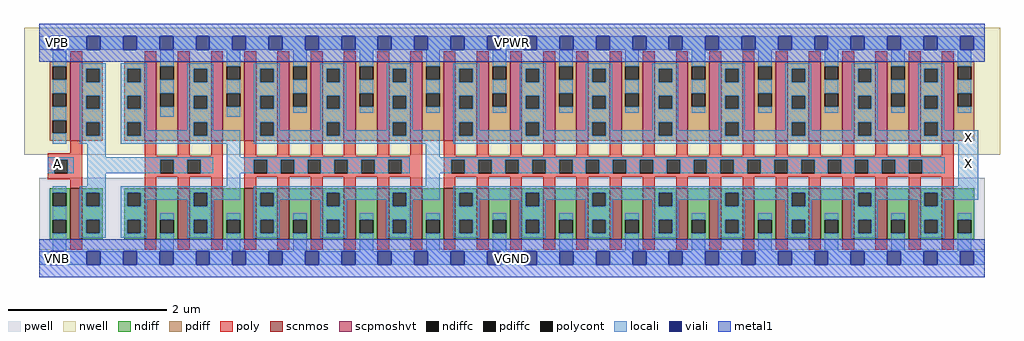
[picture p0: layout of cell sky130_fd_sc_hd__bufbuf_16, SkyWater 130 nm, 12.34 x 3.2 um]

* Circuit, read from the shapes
.subckt sky130_fd_sc_hd__bufbuf_16 A VGND VNB VPB VPWR X
XM1 n1 A VGND VNB sky130_fd_pr__nfet_01v8 w=0.65 l=0.15
XM2 VGND n1 n2 VNB sky130_fd_pr__nfet_01v8 w=0.65 l=0.15 m=3
XM3 n3 n2 VGND VNB sky130_fd_pr__nfet_01v8 w=0.65 l=0.15 m=6
XM4 X n3 VGND VNB sky130_fd_pr__nfet_01v8 w=0.65 l=0.15 m=16
XM5 n1 A VPWR VPB sky130_fd_pr__pfet_01v8_hvt w=1 l=0.15
XM6 VPWR n1 n2 VPB sky130_fd_pr__pfet_01v8_hvt w=1 l=0.15 m=3
XM7 n3 n2 VPWR VPB sky130_fd_pr__pfet_01v8_hvt w=1 l=0.15 m=6
XM8 X n3 VPWR VPB sky130_fd_pr__pfet_01v8_hvt w=1 l=0.15 m=16
.ends

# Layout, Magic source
magic
tech sky130B
magscale 1 2
<< nwell >>
rect -38 261 2430 582
<< pwell >>
rect 1 21 2391 203
rect 30 -17 64 21
<< scnmos >>
rect 79 47 109 177
rect 267 47 297 177
rect 351 47 381 177
rect 435 47 465 177
rect 519 47 549 177
rect 603 47 633 177
rect 687 47 717 177
rect 771 47 801 177
rect 855 47 885 177
rect 939 47 969 177
rect 1023 47 1053 177
rect 1107 47 1137 177
rect 1191 47 1221 177
rect 1275 47 1305 177
rect 1359 47 1389 177
rect 1443 47 1473 177
rect 1527 47 1557 177
rect 1611 47 1641 177
rect 1695 47 1725 177
rect 1779 47 1809 177
rect 1863 47 1893 177
rect 1947 47 1977 177
rect 2031 47 2061 177
rect 2115 47 2145 177
rect 2199 47 2229 177
rect 2283 47 2313 177
<< scpmoshvt >>
rect 79 297 109 497
rect 267 297 297 497
rect 351 297 381 497
rect 435 297 465 497
rect 519 297 549 497
rect 603 297 633 497
rect 687 297 717 497
rect 771 297 801 497
rect 855 297 885 497
rect 939 297 969 497
rect 1023 297 1053 497
rect 1107 297 1137 497
rect 1191 297 1221 497
rect 1275 297 1305 497
rect 1359 297 1389 497
rect 1443 297 1473 497
rect 1527 297 1557 497
rect 1611 297 1641 497
rect 1695 297 1725 497
rect 1779 297 1809 497
rect 1863 297 1893 497
rect 1947 297 1977 497
rect 2031 297 2061 497
rect 2115 297 2145 497
rect 2199 297 2229 497
rect 2283 297 2313 497
<< ndiff >>
rect 27 165 79 177
rect 27 131 35 165
rect 69 131 79 165
rect 27 97 79 131
rect 27 63 35 97
rect 69 63 79 97
rect 27 47 79 63
rect 109 165 161 177
rect 109 131 119 165
rect 153 131 161 165
rect 109 97 161 131
rect 109 63 119 97
rect 153 63 161 97
rect 109 47 161 63
rect 215 165 267 177
rect 215 131 223 165
rect 257 131 267 165
rect 215 97 267 131
rect 215 63 223 97
rect 257 63 267 97
rect 215 47 267 63
rect 297 97 351 177
rect 297 63 307 97
rect 341 63 351 97
rect 297 47 351 63
rect 381 165 435 177
rect 381 131 391 165
rect 425 131 435 165
rect 381 97 435 131
rect 381 63 391 97
rect 425 63 435 97
rect 381 47 435 63
rect 465 97 519 177
rect 465 63 475 97
rect 509 63 519 97
rect 465 47 519 63
rect 549 165 603 177
rect 549 131 559 165
rect 593 131 603 165
rect 549 97 603 131
rect 549 63 559 97
rect 593 63 603 97
rect 549 47 603 63
rect 633 97 687 177
rect 633 63 643 97
rect 677 63 687 97
rect 633 47 687 63
rect 717 165 771 177
rect 717 131 727 165
rect 761 131 771 165
rect 717 97 771 131
rect 717 63 727 97
rect 761 63 771 97
rect 717 47 771 63
rect 801 97 855 177
rect 801 63 811 97
rect 845 63 855 97
rect 801 47 855 63
rect 885 165 939 177
rect 885 131 895 165
rect 929 131 939 165
rect 885 97 939 131
rect 885 63 895 97
rect 929 63 939 97
rect 885 47 939 63
rect 969 97 1023 177
rect 969 63 979 97
rect 1013 63 1023 97
rect 969 47 1023 63
rect 1053 165 1107 177
rect 1053 131 1063 165
rect 1097 131 1107 165
rect 1053 97 1107 131
rect 1053 63 1063 97
rect 1097 63 1107 97
rect 1053 47 1107 63
rect 1137 97 1191 177
rect 1137 63 1147 97
rect 1181 63 1191 97
rect 1137 47 1191 63
rect 1221 165 1275 177
rect 1221 131 1231 165
rect 1265 131 1275 165
rect 1221 97 1275 131
rect 1221 63 1231 97
rect 1265 63 1275 97
rect 1221 47 1275 63
rect 1305 97 1359 177
rect 1305 63 1315 97
rect 1349 63 1359 97
rect 1305 47 1359 63
rect 1389 165 1443 177
rect 1389 131 1399 165
rect 1433 131 1443 165
rect 1389 97 1443 131
rect 1389 63 1399 97
rect 1433 63 1443 97
rect 1389 47 1443 63
rect 1473 97 1527 177
rect 1473 63 1483 97
rect 1517 63 1527 97
rect 1473 47 1527 63
rect 1557 165 1611 177
rect 1557 131 1567 165
rect 1601 131 1611 165
rect 1557 97 1611 131
rect 1557 63 1567 97
rect 1601 63 1611 97
rect 1557 47 1611 63
rect 1641 97 1695 177
rect 1641 63 1651 97
rect 1685 63 1695 97
rect 1641 47 1695 63
rect 1725 165 1779 177
rect 1725 131 1735 165
rect 1769 131 1779 165
rect 1725 97 1779 131
rect 1725 63 1735 97
rect 1769 63 1779 97
rect 1725 47 1779 63
rect 1809 97 1863 177
rect 1809 63 1819 97
rect 1853 63 1863 97
rect 1809 47 1863 63
rect 1893 165 1947 177
rect 1893 131 1903 165
rect 1937 131 1947 165
rect 1893 97 1947 131
rect 1893 63 1903 97
rect 1937 63 1947 97
rect 1893 47 1947 63
rect 1977 97 2031 177
rect 1977 63 1987 97
rect 2021 63 2031 97
rect 1977 47 2031 63
rect 2061 165 2115 177
rect 2061 131 2071 165
rect 2105 131 2115 165
rect 2061 97 2115 131
rect 2061 63 2071 97
rect 2105 63 2115 97
rect 2061 47 2115 63
rect 2145 97 2199 177
rect 2145 63 2155 97
rect 2189 63 2199 97
rect 2145 47 2199 63
rect 2229 165 2283 177
rect 2229 131 2239 165
rect 2273 131 2283 165
rect 2229 97 2283 131
rect 2229 63 2239 97
rect 2273 63 2283 97
rect 2229 47 2283 63
rect 2313 97 2365 177
rect 2313 63 2323 97
rect 2357 63 2365 97
rect 2313 47 2365 63
<< pdiff >>
rect 27 485 79 497
rect 27 451 35 485
rect 69 451 79 485
rect 27 417 79 451
rect 27 383 35 417
rect 69 383 79 417
rect 27 349 79 383
rect 27 315 35 349
rect 69 315 79 349
rect 27 297 79 315
rect 109 479 161 497
rect 109 445 119 479
rect 153 445 161 479
rect 109 411 161 445
rect 109 377 119 411
rect 153 377 161 411
rect 109 343 161 377
rect 109 309 119 343
rect 153 309 161 343
rect 109 297 161 309
rect 215 479 267 497
rect 215 445 223 479
rect 257 445 267 479
rect 215 411 267 445
rect 215 377 223 411
rect 257 377 267 411
rect 215 343 267 377
rect 215 309 223 343
rect 257 309 267 343
rect 215 297 267 309
rect 297 485 351 497
rect 297 451 307 485
rect 341 451 351 485
rect 297 417 351 451
rect 297 383 307 417
rect 341 383 351 417
rect 297 297 351 383
rect 381 479 435 497
rect 381 445 391 479
rect 425 445 435 479
rect 381 411 435 445
rect 381 377 391 411
rect 425 377 435 411
rect 381 343 435 377
rect 381 309 391 343
rect 425 309 435 343
rect 381 297 435 309
rect 465 485 519 497
rect 465 451 475 485
rect 509 451 519 485
rect 465 417 519 451
rect 465 383 475 417
rect 509 383 519 417
rect 465 297 519 383
rect 549 479 603 497
rect 549 445 559 479
rect 593 445 603 479
rect 549 411 603 445
rect 549 377 559 411
rect 593 377 603 411
rect 549 343 603 377
rect 549 309 559 343
rect 593 309 603 343
rect 549 297 603 309
rect 633 485 687 497
rect 633 451 643 485
rect 677 451 687 485
rect 633 417 687 451
rect 633 383 643 417
rect 677 383 687 417
rect 633 297 687 383
rect 717 479 771 497
rect 717 445 727 479
rect 761 445 771 479
rect 717 411 771 445
rect 717 377 727 411
rect 761 377 771 411
rect 717 343 771 377
rect 717 309 727 343
rect 761 309 771 343
rect 717 297 771 309
rect 801 485 855 497
rect 801 451 811 485
rect 845 451 855 485
rect 801 417 855 451
rect 801 383 811 417
rect 845 383 855 417
rect 801 297 855 383
rect 885 479 939 497
rect 885 445 895 479
rect 929 445 939 479
rect 885 411 939 445
rect 885 377 895 411
rect 929 377 939 411
rect 885 343 939 377
rect 885 309 895 343
rect 929 309 939 343
rect 885 297 939 309
rect 969 485 1023 497
rect 969 451 979 485
rect 1013 451 1023 485
rect 969 417 1023 451
rect 969 383 979 417
rect 1013 383 1023 417
rect 969 297 1023 383
rect 1053 479 1107 497
rect 1053 445 1063 479
rect 1097 445 1107 479
rect 1053 411 1107 445
rect 1053 377 1063 411
rect 1097 377 1107 411
rect 1053 343 1107 377
rect 1053 309 1063 343
rect 1097 309 1107 343
rect 1053 297 1107 309
rect 1137 485 1191 497
rect 1137 451 1147 485
rect 1181 451 1191 485
rect 1137 417 1191 451
rect 1137 383 1147 417
rect 1181 383 1191 417
rect 1137 297 1191 383
rect 1221 479 1275 497
rect 1221 445 1231 479
rect 1265 445 1275 479
rect 1221 411 1275 445
rect 1221 377 1231 411
rect 1265 377 1275 411
rect 1221 343 1275 377
rect 1221 309 1231 343
rect 1265 309 1275 343
rect 1221 297 1275 309
rect 1305 485 1359 497
rect 1305 451 1315 485
rect 1349 451 1359 485
rect 1305 417 1359 451
rect 1305 383 1315 417
rect 1349 383 1359 417
rect 1305 297 1359 383
rect 1389 479 1443 497
rect 1389 445 1399 479
rect 1433 445 1443 479
rect 1389 411 1443 445
rect 1389 377 1399 411
rect 1433 377 1443 411
rect 1389 343 1443 377
rect 1389 309 1399 343
rect 1433 309 1443 343
rect 1389 297 1443 309
rect 1473 485 1527 497
rect 1473 451 1483 485
rect 1517 451 1527 485
rect 1473 417 1527 451
rect 1473 383 1483 417
rect 1517 383 1527 417
rect 1473 297 1527 383
rect 1557 479 1611 497
rect 1557 445 1567 479
rect 1601 445 1611 479
rect 1557 411 1611 445
rect 1557 377 1567 411
rect 1601 377 1611 411
rect 1557 343 1611 377
rect 1557 309 1567 343
rect 1601 309 1611 343
rect 1557 297 1611 309
rect 1641 485 1695 497
rect 1641 451 1651 485
rect 1685 451 1695 485
rect 1641 417 1695 451
rect 1641 383 1651 417
rect 1685 383 1695 417
rect 1641 297 1695 383
rect 1725 479 1779 497
rect 1725 445 1735 479
rect 1769 445 1779 479
rect 1725 411 1779 445
rect 1725 377 1735 411
rect 1769 377 1779 411
rect 1725 343 1779 377
rect 1725 309 1735 343
rect 1769 309 1779 343
rect 1725 297 1779 309
rect 1809 485 1863 497
rect 1809 451 1819 485
rect 1853 451 1863 485
rect 1809 417 1863 451
rect 1809 383 1819 417
rect 1853 383 1863 417
rect 1809 297 1863 383
rect 1893 479 1947 497
rect 1893 445 1903 479
rect 1937 445 1947 479
rect 1893 411 1947 445
rect 1893 377 1903 411
rect 1937 377 1947 411
rect 1893 343 1947 377
rect 1893 309 1903 343
rect 1937 309 1947 343
rect 1893 297 1947 309
rect 1977 485 2031 497
rect 1977 451 1987 485
rect 2021 451 2031 485
rect 1977 417 2031 451
rect 1977 383 1987 417
rect 2021 383 2031 417
rect 1977 297 2031 383
rect 2061 479 2115 497
rect 2061 445 2071 479
rect 2105 445 2115 479
rect 2061 411 2115 445
rect 2061 377 2071 411
rect 2105 377 2115 411
rect 2061 343 2115 377
rect 2061 309 2071 343
rect 2105 309 2115 343
rect 2061 297 2115 309
rect 2145 485 2199 497
rect 2145 451 2155 485
rect 2189 451 2199 485
rect 2145 417 2199 451
rect 2145 383 2155 417
rect 2189 383 2199 417
rect 2145 297 2199 383
rect 2229 479 2283 497
rect 2229 445 2239 479
rect 2273 445 2283 479
rect 2229 411 2283 445
rect 2229 377 2239 411
rect 2273 377 2283 411
rect 2229 343 2283 377
rect 2229 309 2239 343
rect 2273 309 2283 343
rect 2229 297 2283 309
rect 2313 485 2365 497
rect 2313 451 2323 485
rect 2357 451 2365 485
rect 2313 417 2365 451
rect 2313 383 2323 417
rect 2357 383 2365 417
rect 2313 297 2365 383
<< ndiffc >>
rect 35 131 69 165
rect 35 63 69 97
rect 119 131 153 165
rect 119 63 153 97
rect 223 131 257 165
rect 223 63 257 97
rect 307 63 341 97
rect 391 131 425 165
rect 391 63 425 97
rect 475 63 509 97
rect 559 131 593 165
rect 559 63 593 97
rect 643 63 677 97
rect 727 131 761 165
rect 727 63 761 97
rect 811 63 845 97
rect 895 131 929 165
rect 895 63 929 97
rect 979 63 1013 97
rect 1063 131 1097 165
rect 1063 63 1097 97
rect 1147 63 1181 97
rect 1231 131 1265 165
rect 1231 63 1265 97
rect 1315 63 1349 97
rect 1399 131 1433 165
rect 1399 63 1433 97
rect 1483 63 1517 97
rect 1567 131 1601 165
rect 1567 63 1601 97
rect 1651 63 1685 97
rect 1735 131 1769 165
rect 1735 63 1769 97
rect 1819 63 1853 97
rect 1903 131 1937 165
rect 1903 63 1937 97
rect 1987 63 2021 97
rect 2071 131 2105 165
rect 2071 63 2105 97
rect 2155 63 2189 97
rect 2239 131 2273 165
rect 2239 63 2273 97
rect 2323 63 2357 97
<< pdiffc >>
rect 35 451 69 485
rect 35 383 69 417
rect 35 315 69 349
rect 119 445 153 479
rect 119 377 153 411
rect 119 309 153 343
rect 223 445 257 479
rect 223 377 257 411
rect 223 309 257 343
rect 307 451 341 485
rect 307 383 341 417
rect 391 445 425 479
rect 391 377 425 411
rect 391 309 425 343
rect 475 451 509 485
rect 475 383 509 417
rect 559 445 593 479
rect 559 377 593 411
rect 559 309 593 343
rect 643 451 677 485
rect 643 383 677 417
rect 727 445 761 479
rect 727 377 761 411
rect 727 309 761 343
rect 811 451 845 485
rect 811 383 845 417
rect 895 445 929 479
rect 895 377 929 411
rect 895 309 929 343
rect 979 451 1013 485
rect 979 383 1013 417
rect 1063 445 1097 479
rect 1063 377 1097 411
rect 1063 309 1097 343
rect 1147 451 1181 485
rect 1147 383 1181 417
rect 1231 445 1265 479
rect 1231 377 1265 411
rect 1231 309 1265 343
rect 1315 451 1349 485
rect 1315 383 1349 417
rect 1399 445 1433 479
rect 1399 377 1433 411
rect 1399 309 1433 343
rect 1483 451 1517 485
rect 1483 383 1517 417
rect 1567 445 1601 479
rect 1567 377 1601 411
rect 1567 309 1601 343
rect 1651 451 1685 485
rect 1651 383 1685 417
rect 1735 445 1769 479
rect 1735 377 1769 411
rect 1735 309 1769 343
rect 1819 451 1853 485
rect 1819 383 1853 417
rect 1903 445 1937 479
rect 1903 377 1937 411
rect 1903 309 1937 343
rect 1987 451 2021 485
rect 1987 383 2021 417
rect 2071 445 2105 479
rect 2071 377 2105 411
rect 2071 309 2105 343
rect 2155 451 2189 485
rect 2155 383 2189 417
rect 2239 445 2273 479
rect 2239 377 2273 411
rect 2239 309 2273 343
rect 2323 451 2357 485
rect 2323 383 2357 417
<< poly >>
rect 79 497 109 523
rect 267 497 297 523
rect 351 497 381 523
rect 435 497 465 523
rect 519 497 549 523
rect 603 497 633 523
rect 687 497 717 523
rect 771 497 801 523
rect 855 497 885 523
rect 939 497 969 523
rect 1023 497 1053 523
rect 1107 497 1137 523
rect 1191 497 1221 523
rect 1275 497 1305 523
rect 1359 497 1389 523
rect 1443 497 1473 523
rect 1527 497 1557 523
rect 1611 497 1641 523
rect 1695 497 1725 523
rect 1779 497 1809 523
rect 1863 497 1893 523
rect 1947 497 1977 523
rect 2031 497 2061 523
rect 2115 497 2145 523
rect 2199 497 2229 523
rect 2283 497 2313 523
rect 79 265 109 297
rect 22 249 109 265
rect 22 215 38 249
rect 72 215 109 249
rect 22 199 109 215
rect 79 177 109 199
rect 267 259 297 297
rect 351 259 381 297
rect 435 259 465 297
rect 267 249 465 259
rect 267 215 307 249
rect 341 215 375 249
rect 409 215 465 249
rect 267 205 465 215
rect 267 177 297 205
rect 351 177 381 205
rect 435 177 465 205
rect 519 259 549 297
rect 603 259 633 297
rect 687 259 717 297
rect 771 259 801 297
rect 855 259 885 297
rect 939 259 969 297
rect 519 249 969 259
rect 519 215 543 249
rect 577 215 611 249
rect 645 215 679 249
rect 713 215 747 249
rect 781 215 815 249
rect 849 215 883 249
rect 917 215 969 249
rect 519 205 969 215
rect 519 177 549 205
rect 603 177 633 205
rect 687 177 717 205
rect 771 177 801 205
rect 855 177 885 205
rect 939 177 969 205
rect 1023 259 1053 297
rect 1107 259 1137 297
rect 1191 259 1221 297
rect 1275 259 1305 297
rect 1359 259 1389 297
rect 1443 259 1473 297
rect 1527 259 1557 297
rect 1611 259 1641 297
rect 1695 259 1725 297
rect 1779 259 1809 297
rect 1863 259 1893 297
rect 1947 259 1977 297
rect 2031 259 2061 297
rect 2115 259 2145 297
rect 2199 259 2229 297
rect 2283 259 2313 297
rect 1023 249 2313 259
rect 1023 215 1043 249
rect 1077 215 1111 249
rect 1145 215 1179 249
rect 1213 215 1247 249
rect 1281 215 1315 249
rect 1349 215 1383 249
rect 1417 215 1451 249
rect 1485 215 1519 249
rect 1553 215 1587 249
rect 1621 215 1655 249
rect 1689 215 1723 249
rect 1757 215 1791 249
rect 1825 215 1859 249
rect 1893 215 1927 249
rect 1961 215 1995 249
rect 2029 215 2063 249
rect 2097 215 2131 249
rect 2165 215 2199 249
rect 2233 215 2313 249
rect 1023 205 2313 215
rect 1023 177 1053 205
rect 1107 177 1137 205
rect 1191 177 1221 205
rect 1275 177 1305 205
rect 1359 177 1389 205
rect 1443 177 1473 205
rect 1527 177 1557 205
rect 1611 177 1641 205
rect 1695 177 1725 205
rect 1779 177 1809 205
rect 1863 177 1893 205
rect 1947 177 1977 205
rect 2031 177 2061 205
rect 2115 177 2145 205
rect 2199 177 2229 205
rect 2283 177 2313 205
rect 79 21 109 47
rect 267 21 297 47
rect 351 21 381 47
rect 435 21 465 47
rect 519 21 549 47
rect 603 21 633 47
rect 687 21 717 47
rect 771 21 801 47
rect 855 21 885 47
rect 939 21 969 47
rect 1023 21 1053 47
rect 1107 21 1137 47
rect 1191 21 1221 47
rect 1275 21 1305 47
rect 1359 21 1389 47
rect 1443 21 1473 47
rect 1527 21 1557 47
rect 1611 21 1641 47
rect 1695 21 1725 47
rect 1779 21 1809 47
rect 1863 21 1893 47
rect 1947 21 1977 47
rect 2031 21 2061 47
rect 2115 21 2145 47
rect 2199 21 2229 47
rect 2283 21 2313 47
<< polycont >>
rect 38 215 72 249
rect 307 215 341 249
rect 375 215 409 249
rect 543 215 577 249
rect 611 215 645 249
rect 679 215 713 249
rect 747 215 781 249
rect 815 215 849 249
rect 883 215 917 249
rect 1043 215 1077 249
rect 1111 215 1145 249
rect 1179 215 1213 249
rect 1247 215 1281 249
rect 1315 215 1349 249
rect 1383 215 1417 249
rect 1451 215 1485 249
rect 1519 215 1553 249
rect 1587 215 1621 249
rect 1655 215 1689 249
rect 1723 215 1757 249
rect 1791 215 1825 249
rect 1859 215 1893 249
rect 1927 215 1961 249
rect 1995 215 2029 249
rect 2063 215 2097 249
rect 2131 215 2165 249
rect 2199 215 2233 249
<< locali >>
rect 0 527 29 561
rect 63 527 121 561
rect 155 527 213 561
rect 247 527 305 561
rect 339 527 397 561
rect 431 527 489 561
rect 523 527 581 561
rect 615 527 673 561
rect 707 527 765 561
rect 799 527 857 561
rect 891 527 949 561
rect 983 527 1041 561
rect 1075 527 1133 561
rect 1167 527 1225 561
rect 1259 527 1317 561
rect 1351 527 1409 561
rect 1443 527 1501 561
rect 1535 527 1593 561
rect 1627 527 1685 561
rect 1719 527 1777 561
rect 1811 527 1869 561
rect 1903 527 1961 561
rect 1995 527 2053 561
rect 2087 527 2145 561
rect 2179 527 2237 561
rect 2271 527 2329 561
rect 2363 527 2392 561
rect 35 485 69 527
rect 35 417 69 451
rect 35 349 69 383
rect 35 289 69 315
rect 103 479 169 493
rect 103 445 119 479
rect 153 445 169 479
rect 103 411 169 445
rect 103 377 119 411
rect 153 377 169 411
rect 103 343 169 377
rect 103 309 119 343
rect 153 309 169 343
rect 103 289 169 309
rect 207 479 273 493
rect 207 445 223 479
rect 257 445 273 479
rect 207 411 273 445
rect 207 377 223 411
rect 257 377 273 411
rect 207 343 273 377
rect 307 485 341 527
rect 307 417 341 451
rect 307 357 341 383
rect 375 479 441 493
rect 375 445 391 479
rect 425 445 441 479
rect 375 411 441 445
rect 375 377 391 411
rect 425 377 441 411
rect 207 309 223 343
rect 257 323 273 343
rect 375 343 441 377
rect 475 485 509 527
rect 475 417 509 451
rect 475 357 509 383
rect 543 479 609 493
rect 543 445 559 479
rect 593 445 609 479
rect 543 411 609 445
rect 543 377 559 411
rect 593 377 609 411
rect 375 323 391 343
rect 257 309 391 323
rect 425 323 441 343
rect 543 343 609 377
rect 643 485 677 527
rect 643 417 677 451
rect 643 367 677 383
rect 711 479 777 493
rect 711 445 727 479
rect 761 445 777 479
rect 711 411 777 445
rect 711 377 727 411
rect 761 377 777 411
rect 425 309 509 323
rect 207 289 509 309
rect 543 309 559 343
rect 593 323 609 343
rect 711 343 777 377
rect 811 485 845 527
rect 811 417 845 451
rect 811 367 845 383
rect 879 479 945 493
rect 879 445 895 479
rect 929 445 945 479
rect 879 411 945 445
rect 879 377 895 411
rect 929 377 945 411
rect 711 323 727 343
rect 593 309 727 323
rect 761 323 777 343
rect 879 343 945 377
rect 979 485 1013 527
rect 979 417 1013 451
rect 979 367 1013 383
rect 1047 479 1113 493
rect 1047 445 1063 479
rect 1097 445 1113 479
rect 1047 411 1113 445
rect 1047 377 1063 411
rect 1097 377 1113 411
rect 879 323 895 343
rect 761 309 895 323
rect 929 323 945 343
rect 1047 343 1113 377
rect 1147 485 1181 527
rect 1147 417 1181 451
rect 1147 367 1181 383
rect 1215 479 1281 493
rect 1215 445 1231 479
rect 1265 445 1281 479
rect 1215 411 1281 445
rect 1215 377 1231 411
rect 1265 377 1281 411
rect 929 309 1013 323
rect 543 289 1013 309
rect 1047 309 1063 343
rect 1097 323 1113 343
rect 1215 343 1281 377
rect 1315 485 1349 527
rect 1315 417 1349 451
rect 1315 367 1349 383
rect 1383 479 1449 493
rect 1383 445 1399 479
rect 1433 445 1449 479
rect 1383 411 1449 445
rect 1383 377 1399 411
rect 1433 377 1449 411
rect 1215 323 1231 343
rect 1097 309 1231 323
rect 1265 323 1281 343
rect 1383 343 1449 377
rect 1483 485 1517 527
rect 1483 417 1517 451
rect 1483 367 1517 383
rect 1551 479 1617 493
rect 1551 445 1567 479
rect 1601 445 1617 479
rect 1551 411 1617 445
rect 1551 377 1567 411
rect 1601 377 1617 411
rect 1383 323 1399 343
rect 1265 309 1399 323
rect 1433 323 1449 343
rect 1551 343 1617 377
rect 1651 485 1685 527
rect 1651 417 1685 451
rect 1651 367 1685 383
rect 1719 479 1785 493
rect 1719 445 1735 479
rect 1769 445 1785 479
rect 1719 411 1785 445
rect 1719 377 1735 411
rect 1769 377 1785 411
rect 1551 323 1567 343
rect 1433 309 1567 323
rect 1601 323 1617 343
rect 1719 343 1785 377
rect 1819 485 1853 527
rect 1819 417 1853 451
rect 1819 367 1853 383
rect 1887 479 1953 493
rect 1887 445 1903 479
rect 1937 445 1953 479
rect 1887 411 1953 445
rect 1887 377 1903 411
rect 1937 377 1953 411
rect 1719 323 1735 343
rect 1601 309 1735 323
rect 1769 323 1785 343
rect 1887 343 1953 377
rect 1987 485 2021 527
rect 1987 417 2021 451
rect 1987 367 2021 383
rect 2055 479 2121 493
rect 2055 445 2071 479
rect 2105 445 2121 479
rect 2055 411 2121 445
rect 2055 377 2071 411
rect 2105 377 2121 411
rect 1887 323 1903 343
rect 1769 309 1903 323
rect 1937 323 1953 343
rect 2055 343 2121 377
rect 2155 485 2189 527
rect 2155 417 2189 451
rect 2155 367 2189 383
rect 2223 479 2289 493
rect 2223 445 2239 479
rect 2273 445 2289 479
rect 2223 411 2289 445
rect 2223 377 2239 411
rect 2273 377 2289 411
rect 2055 323 2071 343
rect 1937 309 2071 323
rect 2105 323 2121 343
rect 2223 343 2289 377
rect 2323 485 2357 527
rect 2323 417 2357 451
rect 2323 367 2357 383
rect 2223 323 2239 343
rect 2105 309 2239 323
rect 2273 323 2289 343
rect 2273 309 2375 323
rect 1047 289 2375 309
rect 122 255 169 289
rect 475 255 509 289
rect 978 255 1013 289
rect 22 249 88 255
rect 22 215 38 249
rect 72 215 88 249
rect 122 249 441 255
rect 122 215 307 249
rect 341 215 375 249
rect 409 215 441 249
rect 475 249 937 255
rect 475 215 543 249
rect 577 215 611 249
rect 645 215 679 249
rect 713 215 747 249
rect 781 215 815 249
rect 849 215 883 249
rect 917 215 937 249
rect 978 249 2290 255
rect 978 215 1043 249
rect 1077 215 1111 249
rect 1145 215 1179 249
rect 1213 215 1247 249
rect 1281 215 1315 249
rect 1349 215 1383 249
rect 1417 215 1451 249
rect 1485 215 1519 249
rect 1553 215 1587 249
rect 1621 215 1655 249
rect 1689 215 1723 249
rect 1757 215 1791 249
rect 1825 215 1859 249
rect 1893 215 1927 249
rect 1961 215 1995 249
rect 2029 215 2063 249
rect 2097 215 2131 249
rect 2165 215 2199 249
rect 2233 215 2290 249
rect 122 181 169 215
rect 475 181 509 215
rect 978 181 1013 215
rect 2324 181 2375 289
rect 35 165 69 181
rect 35 97 69 131
rect 35 17 69 63
rect 103 165 169 181
rect 103 131 119 165
rect 153 131 169 165
rect 103 97 169 131
rect 103 63 119 97
rect 153 63 169 97
rect 103 52 169 63
rect 207 165 509 181
rect 207 131 223 165
rect 257 147 391 165
rect 257 131 273 147
rect 207 97 273 131
rect 375 131 391 147
rect 425 147 509 165
rect 543 165 1013 181
rect 425 131 441 147
rect 207 63 223 97
rect 257 63 273 97
rect 207 52 273 63
rect 307 97 341 113
rect 307 17 341 63
rect 375 97 441 131
rect 543 131 559 165
rect 593 147 727 165
rect 593 131 609 147
rect 375 63 391 97
rect 425 63 441 97
rect 375 52 441 63
rect 475 97 509 113
rect 475 17 509 63
rect 543 97 609 131
rect 711 131 727 147
rect 761 147 895 165
rect 761 131 777 147
rect 543 63 559 97
rect 593 63 609 97
rect 543 52 609 63
rect 643 97 677 113
rect 643 17 677 63
rect 711 97 777 131
rect 879 131 895 147
rect 929 147 1013 165
rect 1047 165 2375 181
rect 929 131 945 147
rect 711 63 727 97
rect 761 63 777 97
rect 711 52 777 63
rect 811 97 845 113
rect 811 17 845 63
rect 879 97 945 131
rect 1047 131 1063 165
rect 1097 147 1231 165
rect 1097 131 1113 147
rect 879 63 895 97
rect 929 63 945 97
rect 879 52 945 63
rect 979 97 1013 113
rect 979 17 1013 63
rect 1047 97 1113 131
rect 1215 131 1231 147
rect 1265 147 1399 165
rect 1265 131 1281 147
rect 1047 63 1063 97
rect 1097 63 1113 97
rect 1047 52 1113 63
rect 1147 97 1181 113
rect 1047 51 1097 52
rect 1147 17 1181 63
rect 1215 97 1281 131
rect 1383 131 1399 147
rect 1433 147 1567 165
rect 1433 131 1449 147
rect 1215 63 1231 97
rect 1265 63 1281 97
rect 1215 52 1281 63
rect 1315 97 1349 113
rect 1231 51 1265 52
rect 1315 17 1349 63
rect 1383 97 1449 131
rect 1551 131 1567 147
rect 1601 147 1735 165
rect 1601 131 1617 147
rect 1383 63 1399 97
rect 1433 63 1449 97
rect 1383 52 1449 63
rect 1483 97 1517 113
rect 1399 51 1433 52
rect 1483 17 1517 63
rect 1551 97 1617 131
rect 1719 131 1735 147
rect 1769 147 1903 165
rect 1769 131 1785 147
rect 1551 63 1567 97
rect 1601 63 1617 97
rect 1551 52 1617 63
rect 1651 97 1685 113
rect 1651 17 1685 63
rect 1719 97 1785 131
rect 1887 131 1903 147
rect 1937 147 2071 165
rect 1937 131 1953 147
rect 1719 63 1735 97
rect 1769 63 1785 97
rect 1719 52 1785 63
rect 1819 97 1853 113
rect 1819 17 1853 63
rect 1887 97 1953 131
rect 2055 131 2071 147
rect 2105 147 2239 165
rect 2105 131 2121 147
rect 1887 63 1903 97
rect 1937 63 1953 97
rect 1887 52 1953 63
rect 1987 97 2021 113
rect 1987 17 2021 63
rect 2055 97 2121 131
rect 2223 131 2239 147
rect 2273 147 2375 165
rect 2273 131 2289 147
rect 2055 63 2071 97
rect 2105 63 2121 97
rect 2055 52 2121 63
rect 2155 97 2189 113
rect 2155 17 2189 63
rect 2223 97 2289 131
rect 2223 63 2239 97
rect 2273 63 2289 97
rect 2223 52 2289 63
rect 2323 97 2357 113
rect 2323 17 2357 63
rect 0 -17 29 17
rect 63 -17 121 17
rect 155 -17 213 17
rect 247 -17 305 17
rect 339 -17 397 17
rect 431 -17 489 17
rect 523 -17 581 17
rect 615 -17 673 17
rect 707 -17 765 17
rect 799 -17 857 17
rect 891 -17 949 17
rect 983 -17 1041 17
rect 1075 -17 1133 17
rect 1167 -17 1225 17
rect 1259 -17 1317 17
rect 1351 -17 1409 17
rect 1443 -17 1501 17
rect 1535 -17 1593 17
rect 1627 -17 1685 17
rect 1719 -17 1777 17
rect 1811 -17 1869 17
rect 1903 -17 1961 17
rect 1995 -17 2053 17
rect 2087 -17 2145 17
rect 2179 -17 2237 17
rect 2271 -17 2329 17
rect 2363 -17 2392 17
<< viali >>
rect 29 527 63 561
rect 121 527 155 561
rect 213 527 247 561
rect 305 527 339 561
rect 397 527 431 561
rect 489 527 523 561
rect 581 527 615 561
rect 673 527 707 561
rect 765 527 799 561
rect 857 527 891 561
rect 949 527 983 561
rect 1041 527 1075 561
rect 1133 527 1167 561
rect 1225 527 1259 561
rect 1317 527 1351 561
rect 1409 527 1443 561
rect 1501 527 1535 561
rect 1593 527 1627 561
rect 1685 527 1719 561
rect 1777 527 1811 561
rect 1869 527 1903 561
rect 1961 527 1995 561
rect 2053 527 2087 561
rect 2145 527 2179 561
rect 2237 527 2271 561
rect 2329 527 2363 561
rect 29 -17 63 17
rect 121 -17 155 17
rect 213 -17 247 17
rect 305 -17 339 17
rect 397 -17 431 17
rect 489 -17 523 17
rect 581 -17 615 17
rect 673 -17 707 17
rect 765 -17 799 17
rect 857 -17 891 17
rect 949 -17 983 17
rect 1041 -17 1075 17
rect 1133 -17 1167 17
rect 1225 -17 1259 17
rect 1317 -17 1351 17
rect 1409 -17 1443 17
rect 1501 -17 1535 17
rect 1593 -17 1627 17
rect 1685 -17 1719 17
rect 1777 -17 1811 17
rect 1869 -17 1903 17
rect 1961 -17 1995 17
rect 2053 -17 2087 17
rect 2145 -17 2179 17
rect 2237 -17 2271 17
rect 2329 -17 2363 17
<< metal1 >>
rect 0 561 2392 592
rect 0 527 29 561
rect 63 527 121 561
rect 155 527 213 561
rect 247 527 305 561
rect 339 527 397 561
rect 431 527 489 561
rect 523 527 581 561
rect 615 527 673 561
rect 707 527 765 561
rect 799 527 857 561
rect 891 527 949 561
rect 983 527 1041 561
rect 1075 527 1133 561
rect 1167 527 1225 561
rect 1259 527 1317 561
rect 1351 527 1409 561
rect 1443 527 1501 561
rect 1535 527 1593 561
rect 1627 527 1685 561
rect 1719 527 1777 561
rect 1811 527 1869 561
rect 1903 527 1961 561
rect 1995 527 2053 561
rect 2087 527 2145 561
rect 2179 527 2237 561
rect 2271 527 2329 561
rect 2363 527 2392 561
rect 0 496 2392 527
rect 0 17 2392 48
rect 0 -17 29 17
rect 63 -17 121 17
rect 155 -17 213 17
rect 247 -17 305 17
rect 339 -17 397 17
rect 431 -17 489 17
rect 523 -17 581 17
rect 615 -17 673 17
rect 707 -17 765 17
rect 799 -17 857 17
rect 891 -17 949 17
rect 983 -17 1041 17
rect 1075 -17 1133 17
rect 1167 -17 1225 17
rect 1259 -17 1317 17
rect 1351 -17 1409 17
rect 1443 -17 1501 17
rect 1535 -17 1593 17
rect 1627 -17 1685 17
rect 1719 -17 1777 17
rect 1811 -17 1869 17
rect 1903 -17 1961 17
rect 1995 -17 2053 17
rect 2087 -17 2145 17
rect 2179 -17 2237 17
rect 2271 -17 2329 17
rect 2363 -17 2392 17
rect 0 -48 2392 -17
<< labels >>
flabel locali s 30 221 64 255 0 FreeSans 200 0 0 0 A
port 1 nsew signal input
flabel locali s 2334 221 2368 255 0 FreeSans 200 0 0 0 X
port 6 nsew signal output
flabel locali s 2334 289 2368 323 0 FreeSans 200 0 0 0 X
port 6 nsew signal output
flabel pwell s 30 -17 64 17 0 FreeSans 200 0 0 0 VNB
port 3 nsew ground bidirectional
flabel nwell s 30 527 64 561 0 FreeSans 200 0 0 0 VPB
port 4 nsew power bidirectional
flabel metal1 s 30 -17 64 17 0 FreeSans 200 0 0 0 VGND
port 2 nsew ground bidirectional abutment
flabel metal1 s 30 527 64 561 0 FreeSans 200 0 0 0 VPWR
port 5 nsew power bidirectional abutment
rlabel comment s 0 0 0 0 4 bufbuf_16
rlabel metal1 s 0 -48 2392 48 1 VGND
port 2 nsew ground bidirectional abutment
rlabel metal1 s 0 496 2392 592 1 VPWR
port 5 nsew power bidirectional abutment
<< properties >>
string FIXED_BBOX 0 0 2392 544
string GDS_END 3243022
string GDS_FILE $PDKPATH/libs.ref/sky130_fd_sc_hd/gds/sky130_fd_sc_hd.gds
string GDS_START 3224820
string LEFclass CORE
string LEFsite unithd
string LEFsymmetry X Y R90
string path 0.000 0.000 59.800 0.000 
<< end >>
